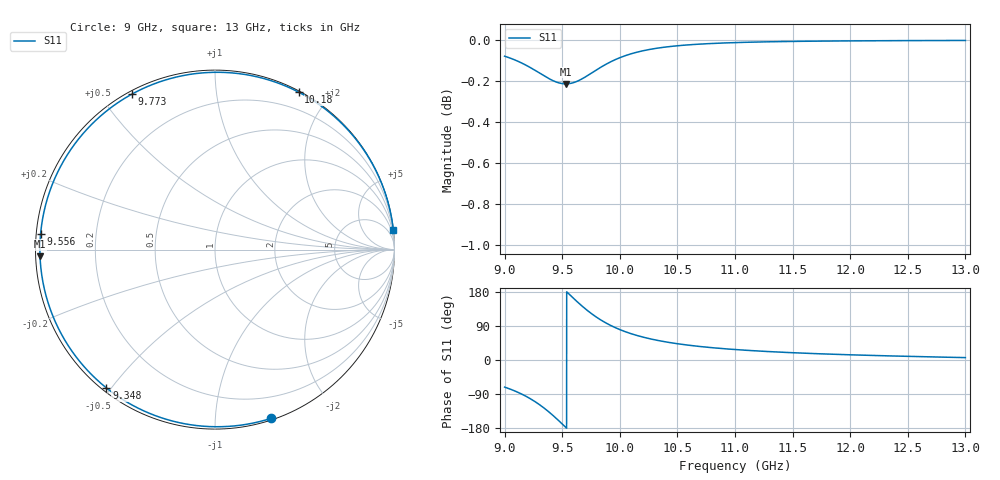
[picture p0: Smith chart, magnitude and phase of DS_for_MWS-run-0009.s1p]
! TOUCHSTONE file generated by CST DESIGN STUDIO
! Date and time: Tue Feb  4 17:50:56 2025
! Project name: C:\Work\MatlabApps\UnitCellOptimizationMatlab\CST\unitcell.cst
! Tree item: Tasks\Sweep1\SPara1\S-Parameters
! Header version: 2024
! Port assignment regex: !\s*Touchstone port\s*([0-9]+)\s*=\s*(CST MWS port|CST DES external port|CST DES block port)\s*(.+)\s* \(\"(.*)\"\)(\s*mode\s*([0-9]+))?.*
! Touchstone port assignment:
! Touchstone port 1 = CST DES external port 1 ("")
# GHz S MA R 50
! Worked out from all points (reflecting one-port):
!   4001 points, 9 GHz to 13 GHz, reference 50 ohm
!   lowest |S11| = -0.2 dB at 9.531 GHz (marker M1), VSWR 80.70, Z = 0.62 - j0.975 ohm
!   phase of S11 starts at -72 deg and turns -282 deg over the sweep
!   S11 on the Smith chart (normalised r, x): 9 GHz: 0.01, -1.39; 9.348 GHz: 0.01, -0.49; 9.556 GHz: 0.01, +0.04; 9.773 GHz: 0.01, +0.60; 10.18 GHz: 0.01, +1.66; 13 GHz: 0, +18
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9  0.9907 -71.5
9.097  0.9885 -82.8
9.205  0.9851 -99.0
9.28  0.9823 -113.1
9.348  0.9797 -128.1
9.42  0.9773 -146.3
9.462  0.9762 -157.9
9.5  0.9757 -168.7
9.531  0.9755 -177.8
9.556  0.9756 174.9
9.61  0.9764 159.4
9.671  0.9782 142.7
9.722  0.9801 129.8
9.773  0.9822 118.2
9.821  0.9841 108.3
9.873  0.986 98.9
9.932  0.988 89.5
10  0.9899 80.3
10.087  0.9919 70.5
10.181  0.9935 62.0
10.327  0.9952 51.8
10.5  0.9965 42.9
10.721  0.9976 34.8
11  0.9983 27.6
11.5  0.999 19.2
12  0.9993 13.7
12.5  0.9994 9.6
13  0.9995 6.3
